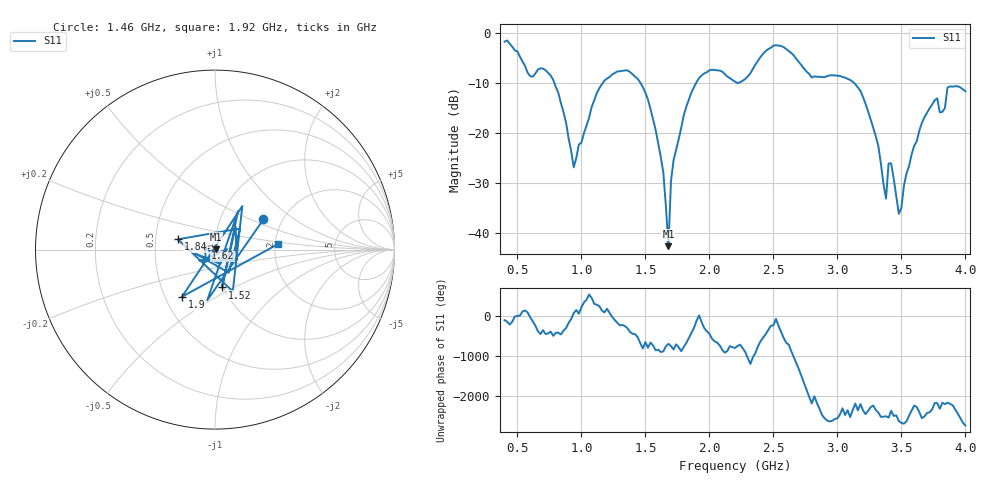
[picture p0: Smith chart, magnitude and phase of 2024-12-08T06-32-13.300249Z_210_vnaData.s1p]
!Created with skrf (http://scikit-rf.org).
# Hz S RI R 50.0
!freq ReS11 ImS11
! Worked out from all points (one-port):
!   181 points, 400 MHz to 4 GHz, reference 50 ohm
!   lowest |S11| = -42.7 dB at 1.68 GHz (marker M1), VSWR 1.01, Z = 50.7 + j0.192 ohm
!   |S11| at or under -10 dB: 787.8 MHz to 1.168 GHz (380.5 MHz wide, 38.9 % of centre); 1.461 GHz to 1.898 GHz (436.7 MHz wide, 26 % of centre); 3.128 GHz to end of sweep (the widest 3 of 4)
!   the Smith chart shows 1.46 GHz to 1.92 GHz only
!   S11 on the Smith chart (normalised r, x): 1.46 GHz: 1.60, +0.60; 1.52 GHz: 0.99, -0.44; 1.62 GHz: 0.89, +0.01; 1.84 GHz: 0.65, +0.08; 1.9 GHz: 0.61, -0.36; 1.92 GHz: 2.08, +0.15
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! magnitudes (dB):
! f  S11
! 400 MHz  -1.8
! 600 MHz  -8.7
! 760 MHz  -8.6
! 860 MHz  -15.9
! 940 MHz  -26.9
! 1.12 GHz  -12.1
! 1.3 GHz  -7.7
! 1.46 GHz  -10.0
! 1.52 GHz  -13.4
! 1.62 GHz  -24.9
! 1.68 GHz  -42.7
! 1.7 GHz  -29.7
! 1.76 GHz  -21.3
! 1.84 GHz  -13.4
! 1.9 GHz  -9.9
! 1.92 GHz  -9.0
! 2.2 GHz  -9.8
! 2.5 GHz  -2.6
! 2.66 GHz  -4.6
! 3.1 GHz  -9.5
! 3.28 GHz  -19.0
! 3.38 GHz  -33.2
! 3.4 GHz  -26.2
! 3.42 GHz  -26.2
! 3.48 GHz  -36.3
! 3.56 GHz  -26.7
! 3.76 GHz  -13.5
! 4 GHz  -11.7
